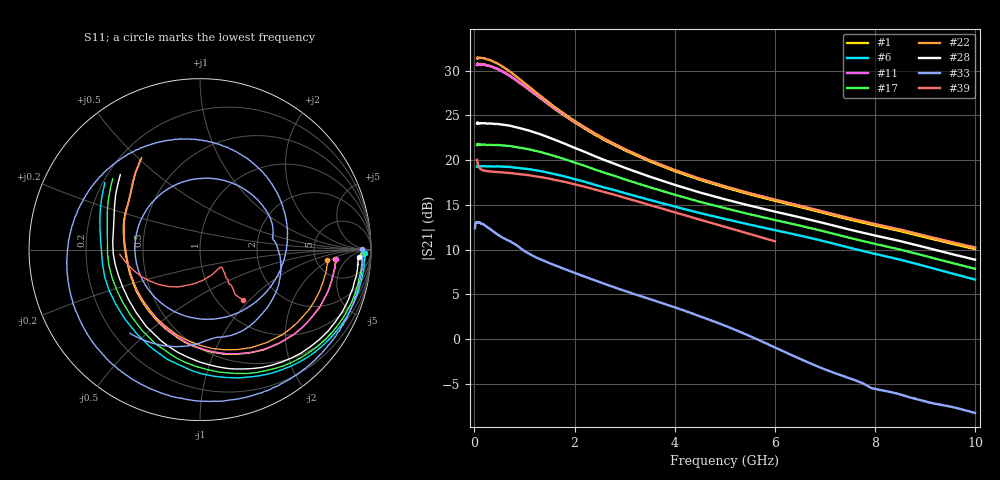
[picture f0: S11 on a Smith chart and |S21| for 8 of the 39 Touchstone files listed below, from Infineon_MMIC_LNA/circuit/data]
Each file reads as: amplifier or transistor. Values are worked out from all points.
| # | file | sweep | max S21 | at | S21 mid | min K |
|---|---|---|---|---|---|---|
| 1 | BGB707L7ESD_2V520M.s2p | 50 MHz to 10 GHz | 30.8 dB | 60 MHz | 26.6 dB at 1.4 GHz | -0.05 |
| 2 | BGB707L7ESD_2V525M.s2p | 50 MHz to 10 GHz | 31.4 dB | 60 MHz | 26.4 dB at 1.4 GHz | 0.06 |
| 3 | BGB707L7ESD_3V01M6.s2p | 50 MHz to 10 GHz | 14.8 dB | 60 MHz | 14.4 dB at 1.4 GHz | -0.07 |
| 4 | BGB707L7ESD_3V02M1.s2p | 50 MHz to 10 GHz | 16.7 dB | 60 MHz | 16.2 dB at 1.4 GHz | -0.12 |
| 5 | BGB707L7ESD_3V02M6.s2p | 50 MHz to 10 GHz | 18.4 dB | 60 MHz | 17.7 dB at 1.4 GHz | -0.06 |
| 6 | BGB707L7ESD_3V03M0.s2p | 50 MHz to 10 GHz | 19.4 dB | 60 MHz | 18.7 dB at 1.4 GHz | -0.02 |
| 7 | BGB707L7ESD_3V04M2.s2p | 50 MHz to 10 GHz | 21.9 dB | 60 MHz | 20.8 dB at 1.4 GHz | -0.02 |
| 8 | BGB707L7ESD_3V06M0.s2p | 50 MHz to 10 GHz | 24.3 dB | 60 MHz | 22.7 dB at 1.4 GHz | -0.26 |
| 9 | BGB707L7ESD_3V010M.s2p | 50 MHz to 10 GHz | 27.4 dB | 60 MHz | 24.9 dB at 1.4 GHz | 0.00 |
| 10 | BGB707L7ESD_3V015M.s2p | 50 MHz to 10 GHz | 29.5 dB | 60 MHz | 26.1 dB at 1.4 GHz | -0.02 |
| 11 | BGB707L7ESD_3V020M.s2p | 50 MHz to 10 GHz | 30.8 dB | 60 MHz | 26.6 dB at 1.4 GHz | 0.01 |
| 12 | BGB707L7ESD_3V025M.s2p | 50 MHz to 10 GHz | 31.5 dB | 60 MHz | 26.7 dB at 1.4 GHz | 0.04 |
| 13 | BGB707L7ESD_3V51M6.s2p | 50 MHz to 10 GHz | 14.6 dB | 60 MHz | 14.2 dB at 1.4 GHz | -0.01 |
| 14 | BGB707L7ESD_3V52M1.s2p | 50 MHz to 10 GHz | 16.7 dB | 60 MHz | 16.2 dB at 1.4 GHz | 0.00 |
| 15 | BGB707L7ESD_3V52M6.s2p | 50 MHz to 10 GHz | 18.3 dB | 60 MHz | 17.7 dB at 1.4 GHz | 0.00 |
| 16 | BGB707L7ESD_3V53M0.s2p | 50 MHz to 10 GHz | 19.4 dB | 60 MHz | 18.7 dB at 1.4 GHz | 0.01 |
| 17 | BGB707L7ESD_3V54M2.s2p | 50 MHz to 10 GHz | 21.8 dB | 60 MHz | 20.8 dB at 1.4 GHz | 0.01 |
| 18 | BGB707L7ESD_3V56M0.s2p | 50 MHz to 10 GHz | 24.3 dB | 60 MHz | 22.7 dB at 1.4 GHz | 0.03 |
| 19 | BGB707L7ESD_3V510M.s2p | 50 MHz to 10 GHz | 27.4 dB | 60 MHz | 24.9 dB at 1.4 GHz | 0.03 |
| 20 | BGB707L7ESD_3V515M.s2p | 50 MHz to 10 GHz | 29.5 dB | 60 MHz | 26.1 dB at 1.4 GHz | 0.01 |
| 21 | BGB707L7ESD_3V520M.s2p | 50 MHz to 10 GHz | 30.7 dB | 60 MHz | 26.7 dB at 1.4 GHz | 0.01 |
| 22 | BGB707L7ESD_3V525M.s2p | 50 MHz to 10 GHz | 31.5 dB | 60 MHz | 26.8 dB at 1.4 GHz | 0.06 |
| 23 | BGB707L7ESD_4V01M6.s2p | 50 MHz to 10 GHz | 14.6 dB | 60 MHz | 14.2 dB at 1.4 GHz | -0.03 |
| 24 | BGB707L7ESD_4V02M1.s2p | 50 MHz to 10 GHz | 16.7 dB | 60 MHz | 16.2 dB at 1.4 GHz | -0.14 |
| 25 | BGB707L7ESD_4V02M6.s2p | 50 MHz to 10 GHz | 18.3 dB | 60 MHz | 17.7 dB at 1.4 GHz | 0.02 |
| 26 | BGB707L7ESD_4V03M0.s2p | 50 MHz to 10 GHz | 19.4 dB | 60 MHz | 18.7 dB at 1.4 GHz | 0.03 |
| 27 | BGB707L7ESD_4V04M2.s2p | 50 MHz to 10 GHz | 21.8 dB | 60 MHz | 20.8 dB at 1.4 GHz | 0.04 |
| 28 | BGB707L7ESD_4V06M0.s2p | 50 MHz to 10 GHz | 24.2 dB | 60 MHz | 22.7 dB at 1.4 GHz | 0.06 |
| 29 | BGB707L7ESD_4V010M.s2p | 50 MHz to 10 GHz | 27.3 dB | 60 MHz | 24.9 dB at 1.4 GHz | 0.07 |
| 30 | BGB707L7ESD_4V015M.s2p | 50 MHz to 10 GHz | 29.4 dB | 60 MHz | 26.1 dB at 1.4 GHz | 0.09 |
| 31 | BGB707L7ESD_4V020M.s2p | 50 MHz to 10 GHz | 30.7 dB | 60 MHz | 26.6 dB at 1.4 GHz | 0.11 |
| 32 | BGB707L7ESD_4V025M.s2p | 50 MHz to 10 GHz | 31.5 dB | 60 MHz | 26.9 dB at 1.4 GHz | 0.13 |
| 33 | BGB719N7ESD_3V0_2m8.s2p | 10 MHz to 10 GHz | 13.1 dB | 47.46 MHz | 1.5 dB at 5.005 GHz | 1.61 |
| 34 | BGB741L7ESD_1V86M0.s2p | 50 MHz to 6 GHz | 20.1 dB | 50 MHz | 18.4 dB at 1 GHz | 0.80 |
| 35 | BGB741L7ESD_1V810M.s2p | 50 MHz to 6 GHz | 22.1 dB | 50 MHz | 20.2 dB at 1 GHz | 0.81 |
| 36 | BGB741L7ESD_1V815M.s2p | 50 MHz to 6 GHz | 23.4 dB | 50 MHz | 21.3 dB at 1 GHz | 0.80 |
| 37 | BGB741L7ESD_1V820M.s2p | 50 MHz to 6 GHz | 24.0 dB | 50 MHz | 21.8 dB at 1 GHz | 0.81 |
| 38 | BGB741L7ESD_1V825M.s2p | 50 MHz to 6 GHz | 24.4 dB | 50 MHz | 22.2 dB at 1 GHz | 0.81 |
| 39 | BGB741L7ESD_2V56M0.s2p | 50 MHz to 6 GHz | 20.0 dB | 50 MHz | 18.4 dB at 1 GHz | 0.81 |

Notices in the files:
DesignKits/Infineon_MMIC_LNA/circuit/data/BGB719N7ESD_3V0_2m8.s2p:
(c) 2011 Infineon Technologies AG
DesignKits/Infineon_MMIC_LNA/circuit/data/BGB707L7ESD_3V010M.s2p:
(c) 2009  Infineon Technologies AG, Munich
